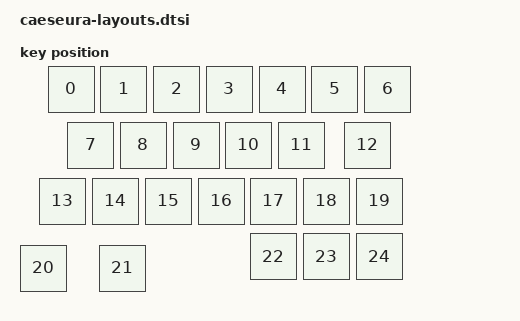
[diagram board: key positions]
#include <physical_layouts.dtsi>

/ {
    physical_layout_caeseura: physical_layout_caeseura {
        compatible = "zmk,physical-layout";
        display-name = "Caeseura";
        keys  //                     w   h    x    y     rot    rx    ry
            = <&key_physical_attrs 100 100(-1000)    0       0     0     0>
            , <&key_physical_attrs 100 100(-894)    0       0     0     0>
            , <&key_physical_attrs 100 100(-789)    0       0     0     0>
            , <&key_physical_attrs 100 100(-683)    0       0     0     0>
            , <&key_physical_attrs 100 100(-578)    0       0     0     0>
            , <&key_physical_attrs 100 100(-472)    0       0     0     0>
            , <&key_physical_attrs 100 100   56    0       0     0     0>
            , <&key_physical_attrs 100 100  161    0       0     0     0>
            , <&key_physical_attrs 100 100  267    0       0     0     0>
            , <&key_physical_attrs 100 100  372    0       0     0     0>
            , <&key_physical_attrs 100 100  478    0       0     0     0>
            , <&key_physical_attrs 100 100  583    0       0     0     0>
            , <&key_physical_attrs 100 100  689    0       0     0     0>
            , <&key_physical_attrs 100 100(-987)  112       0     0     0>
            , <&key_physical_attrs 100 100(-868)  112       0     0     0>
            , <&key_physical_attrs 100 100(-762)  112       0     0     0>
            , <&key_physical_attrs 100 100(-657)  112       0     0     0>
            , <&key_physical_attrs 100 100(-551)  112       0     0     0>
            , <&key_physical_attrs 100 100(-446)  112       0     0     0>
            , <&key_physical_attrs 100 100   95  112       0     0     0>
            , <&key_physical_attrs 100 100  200  112       0     0     0>
            , <&key_physical_attrs 100 100  306  112       0     0     0>
            , <&key_physical_attrs 100 100  411  112       0     0     0>
            , <&key_physical_attrs 100 100  517  112       0     0     0>
            , <&key_physical_attrs 100 100  649  112       0     0     0>
            , <&key_physical_attrs 100 100(-960)  224       0     0     0>
            , <&key_physical_attrs 100 100(-815)  224       0     0     0>
            , <&key_physical_attrs 100 100(-710)  224       0     0     0>
            , <&key_physical_attrs 100 100(-604)  224       0     0     0>
            , <&key_physical_attrs 100 100(-499)  224       0     0     0>
            , <&key_physical_attrs 100 100(-393)  224       0     0     0>
            , <&key_physical_attrs 100 100   39  224       0     0     0>
            , <&key_physical_attrs 100 100  144  224       0     0     0>
            , <&key_physical_attrs 100 100  250  224       0     0     0>
            , <&key_physical_attrs 100 100  356  224       0     0     0>
            , <&key_physical_attrs 100 100  461  224       0     0     0>
            , <&key_physical_attrs 100 100  567  224       0     0     0>
            , <&key_physical_attrs 100 100  672  224       0     0     0>
            , <&key_physical_attrs 100 100(-987)  335       0     0     0>
            , <&key_physical_attrs 100 100(-855)  335       0     0     0>
            , <&key_physical_attrs 100 100(-496)  358       0     0     0>
            , <&key_physical_attrs 100 100(-335)  358       0     0     0>
            , <&key_physical_attrs 100 100    0  358       0     0     0>
            , <&key_physical_attrs 100 100  158  358       0     0     0>
            , <&key_physical_attrs 100 100  461  335       0     0     0>
            , <&key_physical_attrs 100 100  567  335       0     0     0>
            , <&key_physical_attrs 100 100  672  335       0     0     0>
            ;
    };
};
